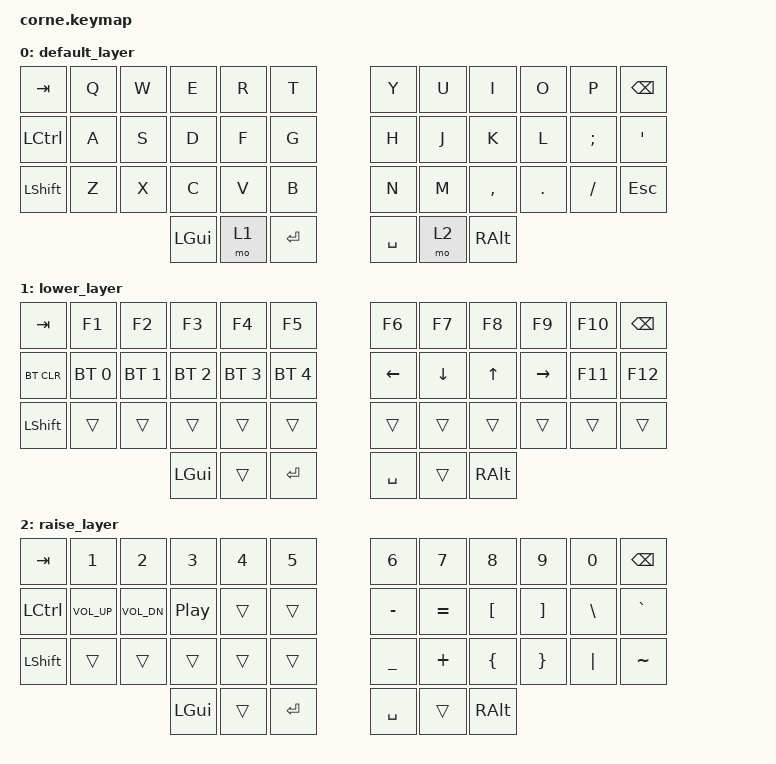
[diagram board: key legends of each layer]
/*
 * Copyright (c) 2020 The ZMK Contributors
 *
 * SPDX-License-Identifier: MIT
 */

#include <behaviors.dtsi>
#include <dt-bindings/zmk/keys.h>
#include <dt-bindings/zmk/bt.h>

/ {
        keymap {
                compatible = "zmk,keymap";

                default_layer {
// -----------------------------------------------------------------------------------------
// |  TAB |  Q  |  W  |  E  |  R  |  T  |   |  Y  |  U   |  I  |  O  |  P  | BKSP |
// | CTRL |  A  |  S  |  D  |  F  |  G  |   |  H  |  J   |  K  |  L  |  ;  |  '   |
// | SHFT |  Z  |  X  |  C  |  V  |  B  |   |  N  |  M   |  ,  |  .  |  /  | ESC  |
//                    | GUI | LWR | ENT |   | SPC | RSE  | ALT |
                        bindings = <
   &kp TAB   &kp Q &kp W &kp E &kp R &kp T   &kp Y &kp U  &kp I     &kp O   &kp P    &kp BSPC
   &kp LCTRL &kp A &kp S &kp D &kp F &kp G   &kp H &kp J  &kp K     &kp L   &kp SEMI &kp SQT
   &kp LSHFT &kp Z &kp X &kp C &kp V &kp B   &kp N &kp M  &kp COMMA &kp DOT &kp FSLH &kp ESC
                  &kp LGUI &mo 1 &kp RET     &kp SPACE &mo 2 &kp RALT
                        >;
                };
                lower_layer {
// -----------------------------------------------------------------------------------------
// |  TAB | F1  | F2  | F3  | F4  | F5  |   | F6  | F7  |  F8 | F9  |  F10  | BKSP |
// | BTCLR| BT1 | BT2 | BT3 | BT4 | BT5 |   | LFT | DWN |  UP | RGT |  F11  | F12  |
// | SHFT |     |     |     |     |     |   |     |     |     |     |       |      |
//                    | GUI |     | ENT |   | SPC |     | ALT |
                        bindings = <
   &kp TAB    &kp F1       &kp F2       &kp F3       &kp F4       &kp F5         &kp F6   &kp F7   &kp F8 &kp F9    &kp F10 &kp BSPC
   &bt BT_CLR &bt BT_SEL 0 &bt BT_SEL 1 &bt BT_SEL 2 &bt BT_SEL 3 &bt BT_SEL 4   &kp LEFT &kp DOWN &kp UP &kp RIGHT &kp F11 &kp F12
   &kp LSHFT  &trans       &trans       &trans       &trans       &trans         &trans   &trans   &trans &trans    &trans  &trans
                                    &kp LGUI     &trans       &kp RET      &kp SPACE  &trans   &kp RALT
                        >;
                };

                raise_layer {
// -----------------------------------------------------------------------------------------
// |  TAB |   1   |  2    |  3  |  4  |  5  |   |  6  |  7  |  8  |  9  |  0  | BKSP |
// | CTRL |  vol↑ |  vol↓ | plps  |     |     |   |  -  |  =  |  [  |  ]  |  \  |  `   |
// | SHFT |       |       |     |     |     |   |  _  |  +  |  {  |  }  | "|" |  ~   |
//                    | GUI |     | ENT |   | SPC |     | SPC |
                        bindings = <
   &kp  TAB  &kp N1       &kp N2       &kp N3     &kp N4   &kp N5      &kp N6    &kp N7    &kp N8    &kp N9   &kp N0   &kp BSPC
   &kp LCTRL &kp C_VOL_UP &kp C_VOL_DN &kp C_PP   &trans   &trans      &kp MINUS &kp EQUAL &kp LBKT  &kp RBKT &kp BSLH &kp GRAVE
   &kp LSHFT &trans       &trans       &trans     &trans   &trans      &kp UNDER &kp PLUS  &kp LBRC  &kp RBRC &kp PIPE &kp TILDE
                             &kp LGUI &trans   &kp RET   &kp SPACE   &trans    &kp RALT
                        >;
                };
        };
};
